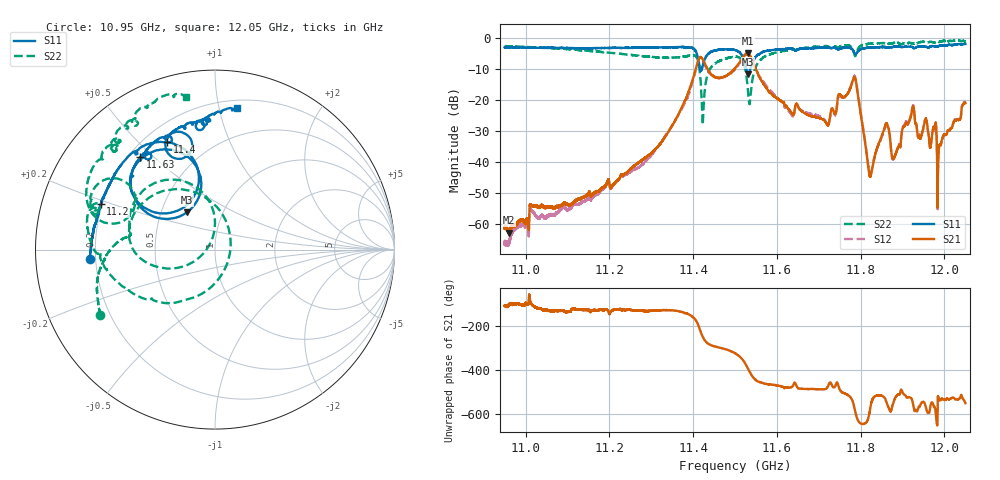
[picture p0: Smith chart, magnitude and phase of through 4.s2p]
!Agilent Technologies,E8362C,MY49020356,A.09.42.23
!Agilent E8362C: A.09.42.23
!Date: Saturday, September 11, 2021 04:07:55
!Correction: S11(Full 2 Port(1,2))
!S21(Full 2 Port(1,2))
!S12(Full 2 Port(1,2))
!S22(Full 2 Port(1,2))
!S2P File: Measurements: S11, S21, S12, S22:
# Hz S  MA  R 50
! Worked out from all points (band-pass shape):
!   32001 points, 10.95 GHz to 12.05 GHz, reference 50 ohm
!   highest |S21| = -5.07 dB at 11.53 GHz (marker M1); lowest = -62.9 dB at 10.96 GHz (marker M2)
!   |S21| within 3 dB of the highest: 11.4105 GHz to 11.42709 GHz (16.6 MHz wide, 0.145 % of centre); 11.51049 GHz to 11.54379 GHz (33.3 MHz wide, 0.289 % of centre)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
!   lowest |S11| = -11.7 dB at 11.53 GHz (marker M3), VSWR 1.70, Z = 33.9 + j15.2 ohm
!   |S11| at or under -10 dB: 11.4165 GHz to 11.42097 GHz (4.471 MHz wide, 0.0392 % of centre); 11.52667 GHz to 11.53687 GHz (10.2 MHz wide, 0.0885 % of centre)
!   |S22| runs from -28.0 to -0.9 dB; largest |S21 - S12| = 0.033
!   S11 on the Smith chart (normalised r, x): 10.95 GHz: 0.18, -0.04; 11.2 GHz: 0.19, +0.18; 11.4 GHz: 0.29, +0.61; 11.63 GHz: 0.25, +0.45; 12.05 GHz: 0.27, +1.13
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1.095e10  0.6995 -175.6  0.0008363 -109.4  0.0004815 -113.3  0.7352 -150.3
1.095993e10  0.6974 -176.7  0.0007187 -106.4  0.0004955 -97.8  0.7307 -151.6
1.113336e10  0.6792 165.1  0.002609 -127.1  0.002198 -127.4  0.6294 -173.2
1.11954e10  0.685 158.4  0.004758 -128.7  0.004564 -126.4  0.5778 179.3
1.131668e10  0.697 144.1  0.01786 -130.8  0.0177 -124.7  0.483 170.8
1.140268e10  0.6555 114.1  0.2553 -167.0  0.2394 -162.0  0.5196 142.5
1.142403e10  0.3775 147.4  0.4361 105.4  0.4115 106.8  0.05358 -172.0
1.144283e10  0.5913 142.8  0.2597 71.7  0.2554 76.2  0.332 -163.0
1.15e10  0.6344 118.7  0.3222 35.1  0.3062 36.8  0.4943 161.9
1.153011e10  0.2652 119.0  0.5578 -31.0  0.5521 -30.5  0.1634 66.5
1.153149e10  0.2594 126.5  0.5522 -36.1  0.5436 -35.8  0.1275 50.7
1.155228e10  0.518 148.3  0.2889 -89.8  0.2886 -84.0  0.3706 -127.0
1.162571e10  0.6619 128.9  0.07343 -120.4  0.06837 -121.1  0.627 -172.3
1.168336e10  0.6829 121.8  0.05449 -126.1  0.05895 -125.2  0.7048 173.8
1.172141e10  0.692 115.8  0.03909 -116.7  0.03887 -121.3  0.7294 162.2
1.178456e10  0.5767 102.9  0.2314 153.4  0.2417 154.7  0.5451 145.3
1.182206e10  0.6932 110.4  0.005886 136.8  0.006102 133.1  0.801 152.6
1.186668e10  0.6949 103.9  0.0344 148.9  0.03241 148.9  0.7962 141.5
1.187981e10  0.7141 103.2  0.0116 -178.2  0.01135 -176.1  0.8256 139.3
1.192395e10  0.7047 95.0  0.07488 175.5  0.07888 173.0  0.8122 131.1
1.198727e10  0.7383 93.2  0.01797 -172.8  0.01722 -173.0  0.8534 121.3
1.205e10  0.7946 81.2  0.08821 169.0  0.0897 165.4  0.86 100.4
